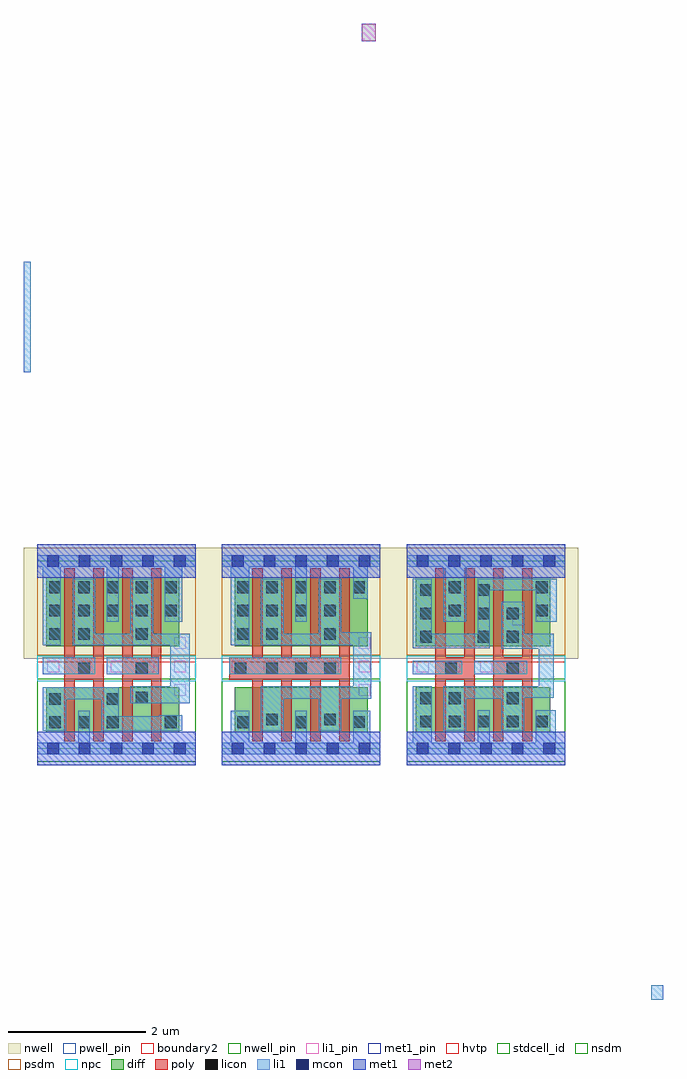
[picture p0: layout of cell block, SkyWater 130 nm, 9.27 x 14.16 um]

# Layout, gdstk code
import gdstk
lib = gdstk.Library(unit=1e-6, precision=1e-09)
def R(c, l, rs):  # rectangles x0, y0, x1, y1
    for r in rs: c.add(gdstk.rectangle(r[:2], r[2:], *l))
def A(c, l, x, y, w, h, nx, ny, dx, dy):  # array of equal rectangles
    R(c, l, [(x+i*dx, y+j*dy, x+i*dx+w, y+j*dy+h) for i in range(nx) for j in range(ny)])
def P(c, l, *ps):  # polygons
    for p in ps: c.add(gdstk.Polygon(p, *l))
nwell_pin = (64, 16)
nwell = (64, 20)
diff = (65, 20)
poly = (66, 20)
licon = (66, 44)
li1_pin = (67, 16)
li1 = (67, 20)
mcon = (67, 44)
met1_pin = (68, 16)
met1 = (68, 20)
met2 = (69, 20)
hvtp = (78, 44)
stdcell_id = (81, 4)
nsdm = (93, 44)
psdm = (94, 20)
npc = (95, 20)
pwell_pin = (122, 16)
boundary2 = (236, 0)

sky130_fd_sc_hd__nand2_2 = lib.new_cell('sky130_fd_sc_hd__nand2_2')
R(sky130_fd_sc_hd__nand2_2, nwell_pin, [(0.15,2.635,0.32,2.805)])
R(sky130_fd_sc_hd__nand2_2, nwell, [(-0.19,1.305,2.49,2.91)])
R(sky130_fd_sc_hd__nand2_2, diff, [(0.135,0.235,2.065,0.885), (0.135,1.485,2.065,2.485)])
P(sky130_fd_sc_hd__nand2_2, poly, [(1.235,0.105),(1.235,2.615),(1.385,2.615),(1.385,1.325),(1.655,1.325),(1.655,2.615),(1.805,2.615),(1.805,0.105),(1.655,0.105),(1.655,0.995),(1.385,0.995),(1.385,0.105)],
  [(0.395,0.105),(0.395,2.615),(0.545,2.615),(0.545,1.325),(0.815,1.325),(0.815,2.615),(0.965,2.615),(0.965,0.105),(0.815,0.105),(0.815,0.995),(0.545,0.995),(0.545,0.105)])
A(sky130_fd_sc_hd__nand2_2, licon, 0.175, 0.295, 0.17, 0.17, 3, 1, 0.42, 0)
A(sky130_fd_sc_hd__nand2_2, licon, 0.175, 1.915, 0.17, 0.17, 5, 2, 0.42, 0.34)
R(sky130_fd_sc_hd__nand2_2, licon, [(1.855,0.295,2.025,0.465), (0.175,0.635,0.345,0.805), (1.015,0.635,1.185,0.805), (1.435,0.655,1.605,0.825), (0.595,1.075,0.765,1.245), (1.435,1.075,1.605,1.245), (0.175,1.575,0.345,1.745), (0.595,1.575,0.765,1.745), (1.435,1.575,1.605,1.745)])
A(sky130_fd_sc_hd__nand2_2, li1_pin, 0.15, 1.105, 0.17, 0.17, 5, 1, 0.46, 0)
R(sky130_fd_sc_hd__nand2_2, li1_pin, [(1.99,0.765,2.16,0.935), (1.99,1.445,2.16,1.615)])
R(sky130_fd_sc_hd__nand2_2, li1, [(0.085,1.075,0.845,1.325), (1.015,1.075,1.765,1.325)])
P(sky130_fd_sc_hd__nand2_2, li1, [(0,-0.085),(0,0.085),(0.595,0.085),(0.595,0.545),(0.765,0.545),(0.765,0.085),(2.3,0.085),(2.3,-0.085)],
  [(0.085,1.495),(0.085,2.635),(0,2.635),(0,2.805),(2.3,2.805),(2.3,2.635),(2.11,2.635),(2.11,1.835),(1.855,1.835),(1.855,2.635),(1.185,2.635),(1.185,1.835),(1.015,1.835),(1.015,2.635),(0.345,2.635),(0.345,1.495)],
  [(0.085,0.255),(0.085,0.885),(1.185,0.885),(1.185,0.465),(1.775,0.465),(1.775,0.485),(2.105,0.485),(2.105,0.255),(0.935,0.255),(0.935,0.715),(0.425,0.715),(0.425,0.255)],
  [(1.355,0.655),(1.355,0.905),(1.935,0.905),(1.935,1.495),(0.515,1.495),(0.515,2.465),(0.845,2.465),(0.845,1.665),(1.355,1.665),(1.355,2.465),(1.685,2.465),(1.685,1.665),(2.215,1.665),(2.215,0.655)])
A(sky130_fd_sc_hd__nand2_2, mcon, 0.145, -0.085, 0.17, 0.17, 5, 2, 0.46, 2.72)
R(sky130_fd_sc_hd__nand2_2, met1_pin, [(0.15,-0.085,0.32,0.085), (0.15,2.635,0.32,2.805)])
R(sky130_fd_sc_hd__nand2_2, hvtp, [(0,1.25,2.3,2.72)])
R(sky130_fd_sc_hd__nand2_2, stdcell_id, [(0,0,2.3,2.72)])
R(sky130_fd_sc_hd__nand2_2, nsdm, [(0,-0.19,2.3,1.015)])
R(sky130_fd_sc_hd__nand2_2, psdm, [(0,1.355,2.3,2.91)])
R(sky130_fd_sc_hd__nand2_2, npc, [(0,0.975,2.3,1.345)])
R(sky130_fd_sc_hd__nand2_2, pwell_pin, [(0.15,-0.085,0.32,0.085)])
R(sky130_fd_sc_hd__nand2_2, boundary2, [(0,0,2.3,2.72)])
sky130_fd_sc_hd__nand2_2.add(gdstk.FlexPath([(0,2.72),(2.3,2.72)], 0.48, ends="flush", simple_path=True, layer=68, datatype=20))  # met1
sky130_fd_sc_hd__nand2_2.add(gdstk.FlexPath([(0,0),(2.3,0)], 0.48, ends="flush", simple_path=True, layer=68, datatype=20))  # met1
sky130_fd_sc_hd__nand2_2.add(gdstk.Label('Y', (2.075,0.85), layer=67, texttype=5))
sky130_fd_sc_hd__nand2_2.add(gdstk.Label('Y', (2.075,1.19), layer=67, texttype=5))
sky130_fd_sc_hd__nand2_2.add(gdstk.Label('Y', (2.075,1.53), layer=67, texttype=5))
sky130_fd_sc_hd__nand2_2.add(gdstk.Label('A', (1.615,1.19), layer=67, texttype=5))
sky130_fd_sc_hd__nand2_2.add(gdstk.Label('B', (0.695,1.19), layer=67, texttype=5))
sky130_fd_sc_hd__nand2_2.add(gdstk.Label('VPB', (0.23,2.72), layer=64, texttype=5))
sky130_fd_sc_hd__nand2_2.add(gdstk.Label('VNB', (0.23,0), layer=64, texttype=59))
sky130_fd_sc_hd__nand2_2.add(gdstk.Label('VGND', (0.23,0), layer=68, texttype=5))
sky130_fd_sc_hd__nand2_2.add(gdstk.Label('VPWR', (0.23,2.72), layer=68, texttype=5))
sky130_fd_sc_hd__nand2_2.add(gdstk.Label('nand2_2', (0,0), layer=83, texttype=44))

sky130_fd_sc_hd__inv_4 = lib.new_cell('sky130_fd_sc_hd__inv_4')
R(sky130_fd_sc_hd__inv_4, nwell_pin, [(0.145,2.635,0.315,2.805)])
R(sky130_fd_sc_hd__inv_4, nwell, [(-0.19,1.305,2.49,2.91)])
R(sky130_fd_sc_hd__inv_4, diff, [(0.185,0.235,2.115,0.885), (0.185,1.485,2.115,2.485)])
P(sky130_fd_sc_hd__inv_4, poly, [(0.445,0.105),(0.445,0.995),(0.105,0.995),(0.105,1.325),(0.445,1.325),(0.445,2.615),(0.595,2.615),(0.595,1.325),(0.865,1.325),(0.865,2.615),(1.015,2.615),(1.015,1.325),(1.285,1.325),(1.285,2.615),(1.435,2.615),(1.435,1.325),(1.705,1.325),(1.705,2.615),(1.855,2.615),(1.855,0.105),(1.705,0.105),(1.705,0.995),(1.435,0.995),(1.435,0.105),(1.285,0.105),(1.285,0.995),(1.015,0.995),(1.015,0.105),(0.865,0.105),(0.865,0.995),(0.595,0.995),(0.595,0.105)])
A(sky130_fd_sc_hd__inv_4, licon, 0.645, 1.075, 0.17, 0.17, 3, 1, 0.42, 0)
A(sky130_fd_sc_hd__inv_4, licon, 0.225, 1.915, 0.17, 0.17, 4, 1, 0.42, 0)
A(sky130_fd_sc_hd__inv_4, licon, 0.225, 2.255, 0.17, 0.17, 5, 1, 0.42, 0)
R(sky130_fd_sc_hd__inv_4, licon, [(0.225,0.295,0.395,0.465), (1.065,0.295,1.235,0.465), (1.905,0.3,2.075,0.47), (0.645,0.335,0.815,0.505), (1.485,0.335,1.655,0.505), (0.185,1.075,0.355,1.245), (0.225,1.575,0.395,1.745), (0.645,1.575,0.815,1.745), (1.485,1.575,1.655,1.745)])
A(sky130_fd_sc_hd__inv_4, li1_pin, 0.145, 1.105, 0.17, 0.17, 5, 1, 0.46, 0)
R(sky130_fd_sc_hd__inv_4, li1_pin, [(1.985,0.765,2.155,0.935), (1.985,1.445,2.155,1.615)])
R(sky130_fd_sc_hd__inv_4, li1, [(0.105,1.075,1.735,1.325)])
P(sky130_fd_sc_hd__inv_4, li1, [(0,-0.085),(0,0.085),(0.13,0.085),(0.13,0.545),(0.395,0.545),(0.395,0.085),(1.065,0.085),(1.065,0.545),(1.235,0.545),(1.235,0.085),(1.905,0.085),(1.905,0.55),(2.155,0.55),(2.155,0.085),(2.3,0.085),(2.3,-0.085)],
  [(0.13,1.495),(0.13,2.635),(0,2.635),(0,2.805),(2.3,2.805),(2.3,2.635),(2.115,2.635),(2.115,2.175),(1.905,2.175),(1.905,2.635),(1.235,2.635),(1.235,1.835),(1.065,1.835),(1.065,2.635),(0.395,2.635),(0.395,1.495)],
  [(0.565,0.255),(0.565,0.905),(1.905,0.905),(1.905,1.495),(0.565,1.495),(0.565,2.465),(0.895,2.465),(0.895,1.665),(1.405,1.665),(1.405,2.465),(1.735,2.465),(1.735,1.685),(2.17,1.685),(2.17,0.725),(1.735,0.725),(1.735,0.255),(1.405,0.255),(1.405,0.725),(0.895,0.725),(0.895,0.255)])
A(sky130_fd_sc_hd__inv_4, mcon, 0.145, -0.085, 0.17, 0.17, 5, 2, 0.46, 2.72)
R(sky130_fd_sc_hd__inv_4, met1_pin, [(0.145,-0.085,0.315,0.085), (0.145,2.635,0.315,2.805)])
R(sky130_fd_sc_hd__inv_4, hvtp, [(0,1.25,2.3,2.72)])
R(sky130_fd_sc_hd__inv_4, stdcell_id, [(0,0,2.3,2.72)])
R(sky130_fd_sc_hd__inv_4, nsdm, [(0,-0.19,2.3,1.015)])
R(sky130_fd_sc_hd__inv_4, psdm, [(0,1.355,2.3,2.91)])
R(sky130_fd_sc_hd__inv_4, npc, [(0,0.975,2.3,1.345)])
R(sky130_fd_sc_hd__inv_4, pwell_pin, [(0.145,-0.085,0.315,0.085)])
R(sky130_fd_sc_hd__inv_4, boundary2, [(0,0,2.3,2.72)])
sky130_fd_sc_hd__inv_4.add(gdstk.FlexPath([(0,2.72),(2.3,2.72)], 0.48, ends="flush", simple_path=True, layer=68, datatype=20))  # met1
sky130_fd_sc_hd__inv_4.add(gdstk.FlexPath([(0,0),(2.3,0)], 0.48, ends="flush", simple_path=True, layer=68, datatype=20))  # met1
sky130_fd_sc_hd__inv_4.add(gdstk.Label('Y', (2.07,0.85), layer=67, texttype=5))
sky130_fd_sc_hd__inv_4.add(gdstk.Label('Y', (2.07,1.19), layer=67, texttype=5))
sky130_fd_sc_hd__inv_4.add(gdstk.Label('Y', (2.07,1.53), layer=67, texttype=5))
sky130_fd_sc_hd__inv_4.add(gdstk.Label('A', (0.23,1.19), layer=67, texttype=5))
sky130_fd_sc_hd__inv_4.add(gdstk.Label('A', (0.69,1.19), layer=67, texttype=5))
sky130_fd_sc_hd__inv_4.add(gdstk.Label('A', (1.15,1.19), layer=67, texttype=5))
sky130_fd_sc_hd__inv_4.add(gdstk.Label('A', (1.61,1.19), layer=67, texttype=5))
sky130_fd_sc_hd__inv_4.add(gdstk.Label('VPB', (0.23,2.72), layer=64, texttype=5))
sky130_fd_sc_hd__inv_4.add(gdstk.Label('VNB', (0.23,0), layer=64, texttype=59))
sky130_fd_sc_hd__inv_4.add(gdstk.Label('VPWR', (0.23,2.72), layer=68, texttype=5))
sky130_fd_sc_hd__inv_4.add(gdstk.Label('VGND', (0.23,0), layer=68, texttype=5))
sky130_fd_sc_hd__inv_4.add(gdstk.Label('inv_4', (0,0), layer=83, texttype=44))

sky130_fd_sc_hd__nor2_2 = lib.new_cell('sky130_fd_sc_hd__nor2_2')
R(sky130_fd_sc_hd__nor2_2, nwell_pin, [(0.15,2.635,0.32,2.805)])
R(sky130_fd_sc_hd__nor2_2, nwell, [(-0.19,1.305,2.49,2.91)])
R(sky130_fd_sc_hd__nor2_2, diff, [(0.135,0.235,2.085,0.885), (0.135,1.485,2.085,2.485)])
P(sky130_fd_sc_hd__nor2_2, poly, [(0.415,0.105),(0.415,2.615),(0.565,2.615),(0.565,1.325),(0.835,1.325),(0.835,2.615),(0.985,2.615),(0.985,0.105),(0.835,0.105),(0.835,0.995),(0.565,0.995),(0.565,0.105)],
  [(1.255,0.105),(1.255,2.615),(1.405,2.615),(1.405,1.325),(1.675,1.325),(1.675,2.615),(1.825,2.615),(1.825,0.105),(1.675,0.105),(1.675,0.995),(1.405,0.995),(1.405,0.105)])
A(sky130_fd_sc_hd__nor2_2, licon, 0.195, 0.305, 0.17, 0.17, 5, 1, 0.42, 0)
A(sky130_fd_sc_hd__nor2_2, licon, 0.195, 1.535, 0.17, 0.17, 1, 3, 0, 0.34)
A(sky130_fd_sc_hd__nor2_2, licon, 1.035, 1.535, 0.17, 0.17, 1, 3, 0, 0.34)
R(sky130_fd_sc_hd__nor2_2, licon, [(0.195,0.645,0.365,0.815), (0.615,0.645,0.785,0.815), (1.455,0.645,1.625,0.815), (0.56,1.075,0.73,1.245), (1.455,1.075,1.625,1.245), (1.455,1.535,1.625,1.705), (1.455,1.875,1.625,2.045), (0.615,1.915,0.785,2.085), (1.875,1.915,2.045,2.085), (0.615,2.255,0.785,2.425), (1.875,2.255,2.045,2.425)])
A(sky130_fd_sc_hd__nor2_2, li1_pin, 0.15, 1.105, 0.17, 0.17, 4, 1, 0.46, 0)
R(sky130_fd_sc_hd__nor2_2, li1_pin, [(1.53,1.785,1.7,1.955)])
R(sky130_fd_sc_hd__nor2_2, li1, [(0.09,1.075,0.81,1.275), (0.98,1.075,1.75,1.275)])
P(sky130_fd_sc_hd__nor2_2, li1, [(0,-0.085),(0,0.085),(0.09,0.085),(0.09,0.905),(0.365,0.905),(0.365,0.085),(1.035,0.085),(1.035,0.555),(1.205,0.555),(1.205,0.085),(1.875,0.085),(1.875,0.555),(2.165,0.555),(2.165,0.085),(2.3,0.085),(2.3,-0.085)],
  [(0.535,1.835),(0.535,2.635),(0,2.635),(0,2.805),(2.3,2.805),(2.3,2.635),(0.865,2.635),(0.865,1.835)],
  [(0.535,0.255),(0.535,0.905),(1.92,0.905),(1.92,1.445),(1.375,1.445),(1.375,2.125),(1.705,2.125),(1.705,1.665),(2.135,1.665),(2.135,0.735),(1.705,0.735),(1.705,0.255),(1.375,0.255),(1.375,0.725),(0.865,0.725),(0.865,0.255)],
  [(0.09,1.455),(0.09,2.465),(0.365,2.465),(0.365,1.665),(1.035,1.665),(1.035,2.465),(2.175,2.465),(2.175,1.835),(1.875,1.835),(1.875,2.295),(1.205,2.295),(1.205,1.455)])
A(sky130_fd_sc_hd__nor2_2, mcon, 0.145, -0.085, 0.17, 0.17, 5, 2, 0.46, 2.72)
R(sky130_fd_sc_hd__nor2_2, met1_pin, [(0.15,-0.085,0.32,0.085), (0.15,2.635,0.32,2.805)])
R(sky130_fd_sc_hd__nor2_2, hvtp, [(0,1.25,2.3,2.72)])
R(sky130_fd_sc_hd__nor2_2, stdcell_id, [(0,0,2.3,2.72)])
R(sky130_fd_sc_hd__nor2_2, nsdm, [(0,-0.19,2.3,1.015)])
R(sky130_fd_sc_hd__nor2_2, psdm, [(0,1.355,2.3,2.91)])
R(sky130_fd_sc_hd__nor2_2, npc, [(0,0.975,2.3,1.345)])
R(sky130_fd_sc_hd__nor2_2, pwell_pin, [(0.15,-0.085,0.32,0.085)])
R(sky130_fd_sc_hd__nor2_2, boundary2, [(0,0,2.3,2.72)])
sky130_fd_sc_hd__nor2_2.add(gdstk.FlexPath([(0,2.72),(2.3,2.72)], 0.48, ends="flush", simple_path=True, layer=68, datatype=20))  # met1
sky130_fd_sc_hd__nor2_2.add(gdstk.FlexPath([(0,0),(2.3,0)], 0.48, ends="flush", simple_path=True, layer=68, datatype=20))  # met1
sky130_fd_sc_hd__nor2_2.add(gdstk.Label('B', (1.155,1.19), layer=67, texttype=5))
sky130_fd_sc_hd__nor2_2.add(gdstk.Label('Y', (1.615,1.87), layer=67, texttype=5))
sky130_fd_sc_hd__nor2_2.add(gdstk.Label('A', (0.235,1.19), layer=67, texttype=5))
sky130_fd_sc_hd__nor2_2.add(gdstk.Label('VPB', (0.235,2.72), layer=64, texttype=5))
sky130_fd_sc_hd__nor2_2.add(gdstk.Label('VNB', (0.235,0), layer=64, texttype=59))
sky130_fd_sc_hd__nor2_2.add(gdstk.Label('VGND', (0.235,0), layer=68, texttype=5))
sky130_fd_sc_hd__nor2_2.add(gdstk.Label('VPWR', (0.235,2.72), layer=68, texttype=5))
sky130_fd_sc_hd__nor2_2.add(gdstk.Label('nor2_2', (0,0), layer=83, texttype=44))

block = lib.new_cell('block')
R(block, li1, [(8.91,-3.64,9.08,-3.43), (-0.19,5.46,-0.09,7.06)])
R(block, met2, [(4.71,10.26,4.91,10.515)])
block.add(gdstk.Reference(sky130_fd_sc_hd__nand2_2, (0,0)))
block.add(gdstk.Reference(sky130_fd_sc_hd__inv_4, (2.68,0)))
block.add(gdstk.Reference(sky130_fd_sc_hd__nor2_2, (5.36,0)))

lib.write_gds('block.gds')
